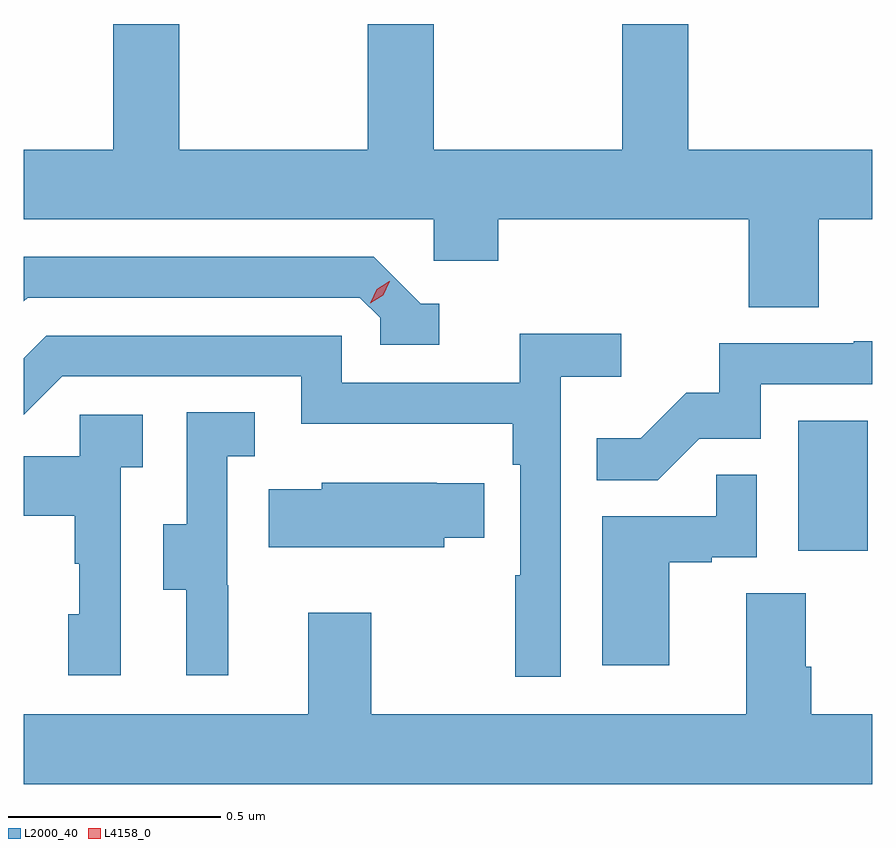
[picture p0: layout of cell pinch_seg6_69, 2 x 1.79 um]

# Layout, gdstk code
import gdstk
lib = gdstk.Library(unit=1e-6, precision=1e-09)
def R(c, l, rs):  # rectangles x0, y0, x1, y1
    for r in rs: c.add(gdstk.rectangle(r[:2], r[2:], *l))
def P(c, l, *ps):  # polygons
    for p in ps: c.add(gdstk.Polygon(p, *l))
L2000_40 = (2000, 40)
L4158_0 = (4158, 0)

pinch_seg6_69 = lib.new_cell('pinch_seg6_69')
R(pinch_seg6_69, L2000_40, [(889.082,926.574,889.246,926.881)])
P(pinch_seg6_69, L2000_40, [(889.13,927.356),(889.256,927.356),(889.256,927.52),(888.822,927.52),(888.822,927.816),(888.667,927.816),(888.667,927.52),(888.222,927.52),(888.222,927.816),(888.067,927.816),(888.067,927.52),(887.622,927.52),(887.622,927.816),(887.467,927.816),(887.467,927.52),(887.256,927.52),(887.256,927.356),(888.222,927.356),(888.222,927.258),(888.374,927.258),(888.374,927.356),(888.965,927.356),(888.965,927.148),(889.13,927.148)],
  [(888.235,927.156),(888.192,927.156),(888.081,927.267),(887.256,927.267),(887.256,927.162),(887.265,927.171),(888.048,927.171),(888.096,927.123),(888.096,927.06),(888.235,927.06)],
  [(888.522,926.984),(888.664,926.984),(888.664,927.086),(888.425,927.086),(888.425,926.97),(888.006,926.97),(888.006,927.081),(887.309,927.081),(887.256,927.028),(887.256,926.895),(887.346,926.985),(887.91,926.985),(887.91,926.873),(888.409,926.873),(888.409,926.777),(888.426,926.777),(888.426,926.516),(888.414,926.516),(888.414,926.277),(888.522,926.277)],
  [(888.849,926.838),(888.993,926.838),(888.993,926.967),(889.256,926.967),(889.256,927.068),(889.213,927.068),(889.213,927.063),(888.895,927.063),(888.895,926.946),(888.818,926.946),(888.711,926.839),(888.607,926.839),(888.607,926.74),(888.751,926.74)],
  [(887.738,926.493),(887.736,926.493),(887.736,926.797),(887.8,926.797),(887.8,926.9),(887.64,926.9),(887.64,926.637),(887.585,926.637),(887.585,926.482),(887.639,926.482),(887.639,926.28),(887.738,926.28)],
  [(887.484,926.771),(887.536,926.771),(887.536,926.895),(887.388,926.895),(887.388,926.797),(887.256,926.797),(887.256,926.657),(887.376,926.657),(887.376,926.543),(887.386,926.543),(887.386,926.424),(887.36,926.424),(887.36,926.28),(887.484,926.28)],
  [(888.778,926.547),(888.878,926.547),(888.878,926.559),(888.984,926.559),(888.984,926.753),(888.889,926.753),(888.889,926.655),(888.62,926.655),(888.62,926.304),(888.778,926.304)],
  [(888.247,926.605),(888.341,926.605),(888.341,926.733),(888.23,926.733),(888.23,926.734),(887.958,926.734),(887.958,926.719),(887.833,926.719),(887.833,926.582),(888.247,926.582)],
  [(889.256,926.188),(889.112,926.188),(889.112,926.3),(889.099,926.3),(889.099,926.474),(888.959,926.474),(888.959,926.188),(888.075,926.188),(888.075,926.428),(887.927,926.428),(887.927,926.188),(887.256,926.188),(887.256,926.024),(889.256,926.024)])
P(pinch_seg6_69, L4158_0, [(888.073,927.157),(888.073,927.157),(888.088,927.19),(888.118,927.209),(888.119,927.209),(888.119,927.209),(888.103,927.176),(888.073,927.157)])

lib.write_gds('pinch_seg6_69.gds')
